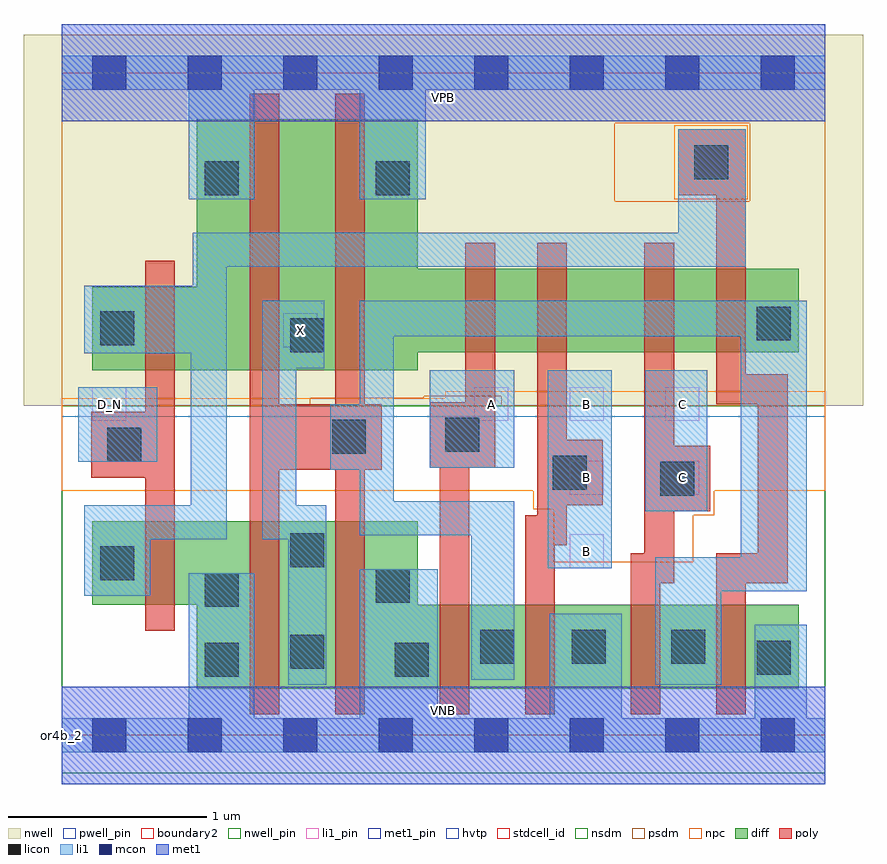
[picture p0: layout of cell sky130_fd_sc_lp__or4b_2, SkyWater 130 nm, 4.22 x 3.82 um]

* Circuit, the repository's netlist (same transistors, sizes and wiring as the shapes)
* Copyright 2020 The SkyWater PDK Authors
*
* Licensed under the Apache License, Version 2.0 (the "License");
* you may not use this file except in compliance with the License.
* You may obtain a copy of the License at
*
*     https://www.apache.org/licenses/LICENSE-2.0
*
* Unless required by applicable law or agreed to in writing, software
* distributed under the License is distributed on an "AS IS" BASIS,
* WITHOUT WARRANTIES OR CONDITIONS OF ANY KIND, either express or implied.
* See the License for the specific language governing permissions and
* limitations under the License.
*
* SPDX-License-Identifier: Apache-2.0

.SUBCKT sky130_fd_sc_lp__or4b_2 A B C D_N VGND VNB VPB VPWR X
*.PININFO A:I B:I C:I D_N:I VGND:I VNB:I VPB:I VPWR:I X:O
MMP0 VPWR A sndPA VPB sky130_fd_pr__pfet_01v8_hvt m=1 w=0.42U l=0.15U mult=1 sa=0.265
+ sb=0.265 sd=0.28 area=0.063 perim=1.14
MMP1 sndPA B sndPB VPB sky130_fd_pr__pfet_01v8_hvt m=1 w=0.42U l=0.15U mult=1 sa=0.265
+ sb=0.265 sd=0.28 area=0.063 perim=1.14
MMP2 sndPB C sndPC VPB sky130_fd_pr__pfet_01v8_hvt m=1 w=0.42U l=0.15U mult=1 sa=0.265
+ sb=0.265 sd=0.28 area=0.063 perim=1.14
MMP3 sndPC D y VPB sky130_fd_pr__pfet_01v8_hvt m=1 w=0.42U l=0.15U mult=1 sa=0.265
+ sb=0.265 sd=0.28 area=0.063 perim=1.14
MMIP3 D D_N VPWR VPB sky130_fd_pr__pfet_01v8_hvt m=1 w=0.42U l=0.15U mult=1 sa=0.265
+ sb=0.265 sd=0.28 area=0.063 perim=1.14
MMIP4 X y VPWR VPB sky130_fd_pr__pfet_01v8_hvt m=2 w=1.26U l=0.15U mult=1 sa=0.265
+ sb=0.265 sd=0.28 area=0.063 perim=1.14
MMN0 y A VGND VNB sky130_fd_pr__nfet_01v8 m=1 w=0.42U l=0.15U mult=1 sa=0.265 sb=0.265
+ sd=0.28 area=0.063 perim=1.14
MMN1 y B VGND VNB sky130_fd_pr__nfet_01v8 m=1 w=0.42U l=0.15U mult=1 sa=0.265 sb=0.265
+ sd=0.28 area=0.063 perim=1.14
MMN2 y C VGND VNB sky130_fd_pr__nfet_01v8 m=1 w=0.42U l=0.15U mult=1 sa=0.265 sb=0.265
+ sd=0.28 area=0.063 perim=1.14
MMN3 y D VGND VNB sky130_fd_pr__nfet_01v8 m=1 w=0.42U l=0.15U mult=1 sa=0.265 sb=0.265
+ sd=0.28 area=0.063 perim=1.14
MMIN3 D D_N VGND VNB sky130_fd_pr__nfet_01v8 m=1 w=0.42U l=0.15U mult=1 sa=0.265
+ sb=0.265 sd=0.28 area=0.063 perim=1.14
MMIN4 X y VGND VNB sky130_fd_pr__nfet_01v8 m=2 w=0.84U l=0.15U mult=1 sa=0.265
+ sb=0.265 sd=0.28 area=0.063 perim=1.14
.ENDS sky130_fd_sc_lp__or4b_2

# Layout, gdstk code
import gdstk
lib = gdstk.Library(unit=1e-6, precision=1e-09)
def R(c, l, rs):  # rectangles x0, y0, x1, y1
    for r in rs: c.add(gdstk.rectangle(r[:2], r[2:], *l))
def A(c, l, x, y, w, h, nx, ny, dx, dy):  # array of equal rectangles
    R(c, l, [(x+i*dx, y+j*dy, x+i*dx+w, y+j*dy+h) for i in range(nx) for j in range(ny)])
def P(c, l, *ps):  # polygons
    for p in ps: c.add(gdstk.Polygon(p, *l))
nwell_pin = (64, 16)
nwell = (64, 20)
diff = (65, 20)
poly = (66, 20)
licon = (66, 44)
li1_pin = (67, 16)
li1 = (67, 20)
mcon = (67, 44)
met1_pin = (68, 16)
met1 = (68, 20)
hvtp = (78, 44)
stdcell_id = (81, 4)
nsdm = (93, 44)
psdm = (94, 20)
npc = (95, 20)
pwell_pin = (122, 16)
boundary2 = (236, 0)

sky130_fd_sc_lp__or4b_2 = lib.new_cell('sky130_fd_sc_lp__or4b_2')
R(sky130_fd_sc_lp__or4b_2, nwell_pin, [(0,3.085,3.84,3.33)])
R(sky130_fd_sc_lp__or4b_2, nwell, [(-0.19,1.655,4.03,3.52)])
P(sky130_fd_sc_lp__or4b_2, diff, [(3.705,2.345),(1.79,2.345),(1.79,3.095),(0.68,3.095),(0.68,2.255),(0.155,2.255),(0.155,1.835),(1.79,1.835),(1.79,1.925),(3.705,1.925)],
  [(3.705,0.655),(1.79,0.655),(1.79,1.075),(0.155,1.075),(0.155,0.655),(0.68,0.655),(0.68,0.235),(3.705,0.235)])
P(sky130_fd_sc_lp__or4b_2, poly, [(0.57,2.385),(0.42,2.385),(0.42,1.625),(0.15,1.625),(0.15,1.295),(0.42,1.295),(0.42,0.525),(0.57,0.525)],
  [(1.61,1.665),(1.525,1.665),(1.525,3.225),(1.375,3.225),(1.375,1.665),(1.095,1.665),(1.095,3.225),(0.945,3.225),(0.945,0.105),(1.095,0.105),(1.095,1.335),(1.375,1.335),(1.375,0.105),(1.525,0.105),(1.525,1.335),(1.61,1.335)],
  [(2.18,2.475),(2.03,2.475),(2.03,1.675),(1.85,1.675),(1.85,1.345),(1.9,1.345),(1.9,0.105),(2.05,0.105),(2.05,1.345),(2.18,1.345)],
  [(2.72,1.485),(2.54,1.485),(2.54,2.475),(2.39,2.475),(2.39,1.105),(2.33,1.105),(2.33,0.105),(2.48,0.105),(2.48,0.955),(2.54,0.955),(2.54,1.155),(2.72,1.155)],
  [(3.26,1.455),(3.08,1.455),(3.08,2.475),(2.93,2.475),(2.93,0.915),(2.86,0.915),(2.86,0.105),(3.01,0.105),(3.01,0.765),(3.08,0.765),(3.08,1.125),(3.26,1.125)],
  [(3.65,1.815),(3.44,1.815),(3.44,3.045),(3.1,3.045),(3.1,2.715),(3.29,2.715),(3.29,1.665),(3.5,1.665),(3.5,0.915),(3.29,0.915),(3.29,0.105),(3.44,0.105),(3.44,0.765),(3.65,0.765)])
R(sky130_fd_sc_lp__or4b_2, licon, [(0.72,0.295,0.89,0.465), (1.675,0.295,1.845,0.465), (3.495,0.305,3.665,0.475), (1.15,0.335,1.32,0.505), (2.105,0.36,2.275,0.53), (2.565,0.36,2.735,0.53), (3.065,0.36,3.235,0.53), (0.72,0.645,0.89,0.815), (1.58,0.665,1.75,0.835), (0.195,0.78,0.365,0.95), (1.15,0.845,1.32,1.015), (3.01,1.205,3.18,1.375), (2.47,1.235,2.64,1.405), (0.23,1.375,0.4,1.545), (1.36,1.415,1.53,1.585), (1.93,1.425,2.1,1.595), (1.15,1.925,1.32,2.095), (0.195,1.96,0.365,2.13), (3.495,1.985,3.665,2.155), (0.72,2.715,0.89,2.885), (1.58,2.715,1.75,2.885), (3.18,2.795,3.35,2.965)])
A(sky130_fd_sc_lp__or4b_2, li1_pin, 2.075, 1.58, 0.17, 0.17, 3, 1, 0.48, 0)
R(sky130_fd_sc_lp__or4b_2, li1_pin, [(2.555,0.84,2.725,1.01), (2.555,1.21,2.725,1.38), (3.035,1.21,3.205,1.38), (0.155,1.58,0.325,1.75), (1.115,1.95,1.285,2.12)])
R(sky130_fd_sc_lp__or4b_2, li1, [(2.445,0.84,2.765,1.835), (2.935,1.125,3.245,1.835), (1.85,1.345,2.275,1.835), (0.085,1.375,0.48,1.75)])
P(sky130_fd_sc_lp__or4b_2, li1, [(1.5,2.695),(1.5,3.245),(0.97,3.245),(0.97,2.695),(0.64,2.695),(0.64,3.245),(0,3.245),(0,3.415),(3.84,3.415),(3.84,3.245),(1.83,3.245),(1.83,2.695)],
  [(2.455,0.085),(2.455,0.61),(2.815,0.61),(2.815,0.085),(3.485,0.085),(3.485,0.555),(3.745,0.555),(3.745,0.085),(3.84,0.085),(3.84,-0.085),(0,-0.085),(0,0.085),(0.64,0.085),(0.64,0.815),(0.97,0.815),(0.97,0.085),(1.5,0.085),(1.5,0.835),(1.89,0.835),(1.89,0.085)],
  [(3.1,2.525),(3.1,3.045),(3.44,3.045),(3.44,2.355),(0.83,2.355),(0.83,0.985),(0.445,0.985),(0.445,0.7),(0.115,0.7),(0.115,1.155),(0.65,1.155),(0.65,1.92),(0.115,1.92),(0.115,2.26),(0.66,2.26),(0.66,2.525)],
  [(1.5,2.185),(3.745,2.185),(3.745,0.725),(3.315,0.725),(3.315,0.255),(2.985,0.255),(2.985,0.895),(3.415,0.895),(3.415,2.005),(1.67,2.005),(1.67,1.175),(2.275,1.175),(2.275,0.28),(2.06,0.28),(2.06,1.005),(1.5,1.005),(1.5,1.335),(1.35,1.335),(1.35,1.665),(1.5,1.665)],
  [(1.01,2.185),(1.32,2.185),(1.32,1.845),(1.18,1.845),(1.18,1.155),(1.33,1.155),(1.33,0.255),(1.14,0.255),(1.14,0.985),(1.01,0.985)])
A(sky130_fd_sc_lp__or4b_2, mcon, 0.155, -0.085, 0.17, 0.17, 8, 2, 0.48, 3.33)
R(sky130_fd_sc_lp__or4b_2, met1_pin, [(0,0,3.84,0.245), (0,3.085,3.84,3.33)])
R(sky130_fd_sc_lp__or4b_2, met1, [(0,-0.245,3.84,0.245), (0,3.085,3.84,3.575)])
R(sky130_fd_sc_lp__or4b_2, hvtp, [(0,1.6,3.84,3.33)])
R(sky130_fd_sc_lp__or4b_2, stdcell_id, [(0,0,3.84,3.33)])
R(sky130_fd_sc_lp__or4b_2, nsdm, [(0,-0.19,3.84,1.655)])
P(sky130_fd_sc_lp__or4b_2, psdm, [(3.84,2.685),(2.78,2.685),(2.78,3.075),(3.46,3.075),(3.46,2.685),(3.84,2.685),(3.84,3.52),(0,3.52),(0,1.655),(1.25,1.655),(1.25,1.695),(1.82,1.695),(1.82,1.705),(2.21,1.705),(2.21,1.655),(3.84,1.655)])
R(sky130_fd_sc_lp__or4b_2, npc, [(3.08,2.695,3.45,3.065)])
P(sky130_fd_sc_lp__or4b_2, npc, [(3.84,1.73),(1.93,1.73),(1.93,1.695),(0,1.695),(0,1.23),(2.37,1.23),(2.37,1.135),(2.475,1.135),(2.475,0.87),(3.175,0.87),(3.175,1.105),(3.28,1.105),(3.28,1.23),(3.84,1.23)])
R(sky130_fd_sc_lp__or4b_2, pwell_pin, [(0,0,3.84,0.245)])
R(sky130_fd_sc_lp__or4b_2, boundary2, [(0,0,3.84,3.33)])
sky130_fd_sc_lp__or4b_2.add(gdstk.Label('VNB', (1.92,0.123), layer=64, texttype=59))
sky130_fd_sc_lp__or4b_2.add(gdstk.Label('VPB', (1.92,3.208), layer=64, texttype=5))
sky130_fd_sc_lp__or4b_2.add(gdstk.Label('or4b_2', (0,0), layer=83, texttype=44))
sky130_fd_sc_lp__or4b_2.add(gdstk.Label('VPWR', (1.92,3.208), layer=68, texttype=5))
sky130_fd_sc_lp__or4b_2.add(gdstk.Label('VGND', (1.92,0.123), layer=68, texttype=5))
sky130_fd_sc_lp__or4b_2.add(gdstk.Label('B', (2.64,0.925), layer=67, texttype=5))
sky130_fd_sc_lp__or4b_2.add(gdstk.Label('B', (2.64,1.295), layer=67, texttype=5))
sky130_fd_sc_lp__or4b_2.add(gdstk.Label('B', (2.64,1.665), layer=67, texttype=5))
sky130_fd_sc_lp__or4b_2.add(gdstk.Label('C', (3.12,1.295), layer=67, texttype=5))
sky130_fd_sc_lp__or4b_2.add(gdstk.Label('C', (3.12,1.665), layer=67, texttype=5))
sky130_fd_sc_lp__or4b_2.add(gdstk.Label('D_N', (0.24,1.665), layer=67, texttype=5))
sky130_fd_sc_lp__or4b_2.add(gdstk.Label('X', (1.2,2.035), layer=67, texttype=5))
sky130_fd_sc_lp__or4b_2.add(gdstk.Label('A', (2.16,1.665), layer=67, texttype=5))

lib.write_gds('sky130_fd_sc_lp__or4b_2.gds')
